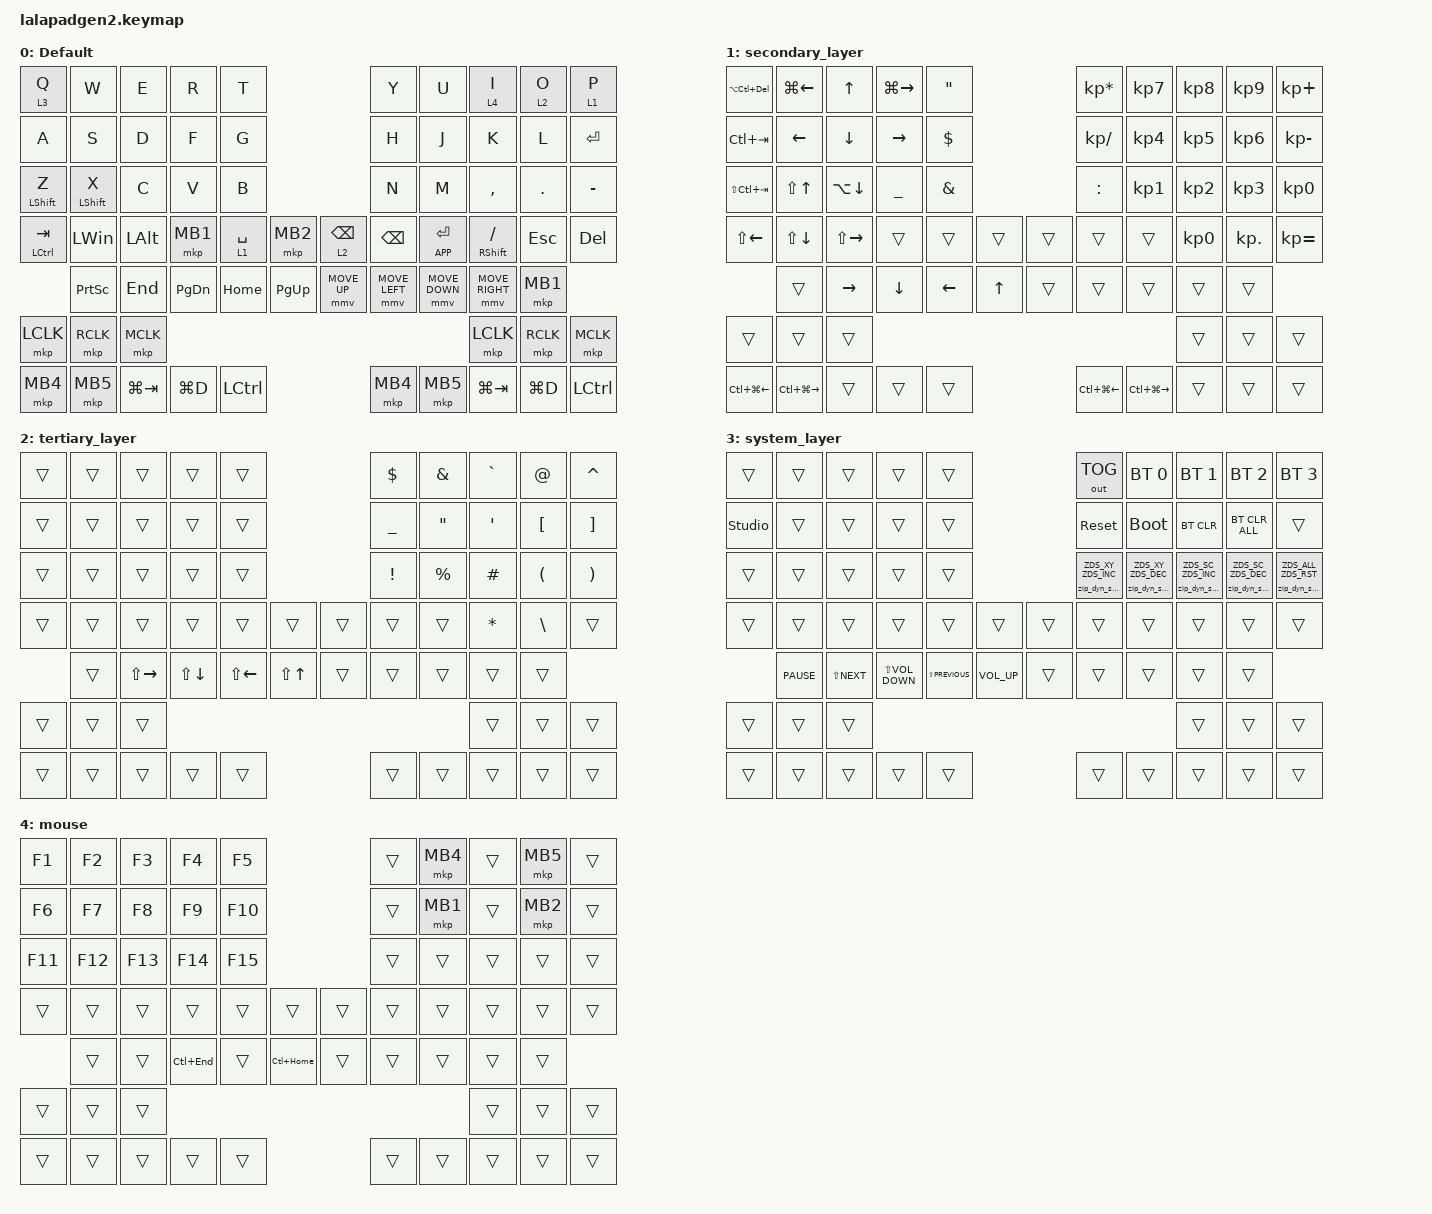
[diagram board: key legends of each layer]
#include <input/processors.dtsi>
#include <dt-bindings/zmk/zip_dynamic_scale.h>
#include <behaviors.dtsi>
#include <dt-bindings/zmk/bt.h>
#include <dt-bindings/zmk/keys.h>
#include <dt-bindings/zmk/outputs.h>
#include <dt-bindings/zmk/pointing.h>

#define DEFAULT_LAYER   0
#define SECONDARY_LAYER 1
#define TERTIARY_LAYER  2
#define SYSTEM_LAYER    3

&mt { quick-tap-ms = <200>; };

&lt { quick-tap-ms = <200>; };

/ {
    behaviors {
        zip_dyn_scale: zip_dyn_scale {
            compatible = "zmk,behavior-zip-dynamic-scale";
            #binding-cells = <2>;
        };

        zip_dyn_scale_set: zip_dyn_scale_set {
            compatible = "zmk,behavior-zip-dynamic-scale-set";
            #binding-cells = <2>;
        };

        mt2: mod_tap2 {
            compatible = "zmk,behavior-hold-tap";
            #binding-cells = <2>;
            flavor = "tap-preferred";
            tapping-term-ms = <200>;
            quick-tap-ms = <200>;
            require-prior-idle-ms = <125>;
            bindings = <&kp>, <&kp>;
        };

        tap_dance_layer_1and2: tap_dance_layer_1and2 {
            compatible = "zmk,behavior-tap-dance";
            label = "td_mo12";
            #binding-cells = <0>;
            bindings = <&mo 1>, <&mo 2>;
        };
    };

    combos {
        compatible = "zmk,combos";

        CONBO_ESC {
            bindings = <&kp ESCAPE>;
            key-positions = <0 1>;
        };

        COMBO_TAB {
            bindings = <&kp TAB>;
            key-positions = <10 11>;
        };

        layer2 {
            bindings = <&sl 2>;
            key-positions = <12 13>;
        };

        jpn {
            bindings = <&kp LANG1>;
            key-positions = <33 34>;
        };

        eng {
            bindings = <&kp LANG2>;
            key-positions = <35 34>;
        };

        layer1 {
            bindings = <&mo 1>;
            key-positions = <36 37>;
        };

        layer2-2 {
            bindings = <&mo 2>;
            key-positions = <37 38>;
        };
    };

    keymap {
        compatible = "zmk,keymap";

        DEFAULT_LAYER {
            display-name = "Default";
            bindings = <
&lt 3 Q            &kp W             &kp E         &kp R          &kp T                                      &kp Y           &kp U            &lt 4 I                &lt 2 O     &lt 1 P
&kp A              &kp S             &kp D         &kp F          &kp G                                      &kp H           &kp J            &kp K                  &kp L       &kp ENTER
&mt2 LEFT_SHIFT Z  &mt LEFT_SHIFT X  &kp C         &kp V          &kp B                                      &kp N           &kp M            &kp COMMA              &kp PERIOD  &kp MINUS
&mt LCTRL TAB      &kp LWIN          &kp LEFT_ALT  &mkp MB1       &lt 1 SPACE  &mkp MB2     &lt 2 BACKSPACE  &kp BACKSPACE   &mt K_APP ENTER  &mt RIGHT_SHIFT SLASH  &kp ESCAPE  &kp DELETE
                   &kp PRINTSCREEN   &kp END       &kp PAGE_DOWN  &kp HOME     &kp PAGE_UP  &mmv MOVE_UP     &mmv MOVE_LEFT  &mmv MOVE_DOWN   &mmv MOVE_RIGHT        &mkp MB1
&mkp LCLK          &mkp RCLK         &mkp MCLK                                                                                                &mkp LCLK              &mkp RCLK   &mkp MCLK
&mkp MB4           &mkp MB5          &kp LG(TAB)   &kp LG(D)      &kp LCTRL                                  &mkp MB4        &mkp MB5         &kp LG(TAB)            &kp LG(D)   &kp LCTRL
            >;
        };

        SECONDARY_LAYER {
            display-name = "secondary_layer";
            bindings = <
&kp LA(LC(DELETE))  &kp LG(LEFT_ARROW)  &kp UP_ARROW         &kp LG(RIGHT_ARROW)  &kp DQT                               &kp KP_MULTIPLY   &kp KP_NUMBER_7    &kp KP_NUMBER_8  &kp KP_NUMBER_9  &kp KP_PLUS
&kp LC(TAB)         &kp LEFT_ARROW      &kp DOWN_ARROW       &kp RIGHT_ARROW      &kp DOLLAR                            &kp KP_SLASH      &kp KP_NUMBER_4    &kp KP_NUMBER_5  &kp KP_NUMBER_6  &kp KP_MINUS
&kp LS(LC(TAB))     &kp LS(UP_ARROW)    &kp LA(DOWN_ARROW)   &kp UNDERSCORE       &kp AMPERSAND                         &kp COLON         &kp KP_NUMBER_1    &kp KP_NUMBER_2  &kp KP_NUMBER_3  &kp KP_NUMBER_0
&kp LS(LEFT_ARROW)  &kp LS(DOWN_ARROW)  &kp LS(RIGHT_ARROW)  &trans               &trans          &trans        &trans  &trans            &trans             &kp KP_NUMBER_0  &kp KP_DOT       &kp KP_EQUAL
                    &trans              &kp RIGHT_ARROW      &kp DOWN_ARROW       &kp LEFT_ARROW  &kp UP_ARROW  &trans  &trans            &trans             &trans           &trans
&trans              &trans              &trans                                                                                                               &trans           &trans           &trans
&kp LC(LG(LEFT))    &kp LC(LG(RIGHT))   &trans               &trans               &trans                                &kp LC(LG(LEFT))  &kp LC(LG(RIGHT))  &trans           &trans           &trans
            >;
        };

        TERTIARY_LAYER {
            display-name = "tertiary_layer";
            bindings = <
&trans  &trans  &trans               &trans              &trans                                        &kp DOLLAR       &kp AMPS           &kp GRAVE         &kp AT_SIGN           &kp CARET
&trans  &trans  &trans               &trans              &trans                                        &kp UNDERSCORE   &kp DOUBLE_QUOTES  &kp SINGLE_QUOTE  &kp LEFT_BRACKET      &kp RIGHT_BRACKET
&trans  &trans  &trans               &trans              &trans                                        &kp EXCLAMATION  &kp PERCENT        &kp POUND         &kp LEFT_PARENTHESIS  &kp RIGHT_PARENTHESIS
&trans  &trans  &trans               &trans              &trans              &trans            &trans  &trans           &trans             &kp ASTERISK      &kp BACKSLASH         &trans
        &trans  &kp LS(RIGHT_ARROW)  &kp LS(DOWN_ARROW)  &kp LS(LEFT_ARROW)  &kp LS(UP_ARROW)  &trans  &trans           &trans             &trans            &trans
&trans  &trans  &trans                                                                                                                     &trans            &trans                &trans
&trans  &trans  &trans               &trans              &trans                                        &trans           &trans             &trans            &trans                &trans
            >;
        };

        SYSTEM_LAYER {
            display-name = "system_layer";
            bindings = <
&trans          &trans       &trans          &trans                 &trans                                       &out OUT_TOG                   &bt BT_SEL 0                   &bt BT_SEL 1                   &bt BT_SEL 2                   &bt BT_SEL 3
&studio_unlock  &trans       &trans          &trans                 &trans                                       &sys_reset                     &bootloader                    &bt BT_CLR                     &bt BT_CLR_ALL                 &trans
&trans          &trans       &trans          &trans                 &trans                                       &zip_dyn_scale ZDS_XY ZDS_INC  &zip_dyn_scale ZDS_XY ZDS_DEC  &zip_dyn_scale ZDS_SC ZDS_INC  &zip_dyn_scale ZDS_SC ZDS_DEC  &zip_dyn_scale ZDS_ALL ZDS_RST
&trans          &trans       &trans          &trans                 &trans              &trans           &trans  &trans                         &trans                         &trans                         &trans                         &trans
                &kp C_PAUSE  &kp LS(C_NEXT)  &kp LS(C_VOLUME_DOWN)  &kp LS(C_PREVIOUS)  &kp C_VOLUME_UP  &trans  &trans                         &trans                         &trans                         &trans
&trans          &trans       &trans                                                                                                                                            &trans                         &trans                         &trans
&trans          &trans       &trans          &trans                 &trans                                       &trans                         &trans                         &trans                         &trans                         &trans
            >;
        };

        mouse {
            bindings = <
&kp F1   &kp F2   &kp F3   &kp F4       &kp F5                         &trans  &mkp MB4  &trans  &mkp MB5  &trans
&kp F6   &kp F7   &kp F8   &kp F9       &kp F10                        &trans  &mkp MB1  &trans  &mkp MB2  &trans
&kp F11  &kp F12  &kp F13  &kp F14      &kp F15                        &trans  &trans    &trans  &trans    &trans
&trans   &trans   &trans   &trans       &trans   &trans        &trans  &trans  &trans    &trans  &trans    &trans
         &trans   &trans   &kp LC(END)  &trans   &kp LC(HOME)  &trans  &trans  &trans    &trans  &trans
&trans   &trans   &trans                                                                 &trans  &trans    &trans
&trans   &trans   &trans   &trans       &trans                         &trans  &trans    &trans  &trans    &trans
            >;
        };
    };

    conditional_layers { compatible = "zmk,conditional-layers"; };
};
